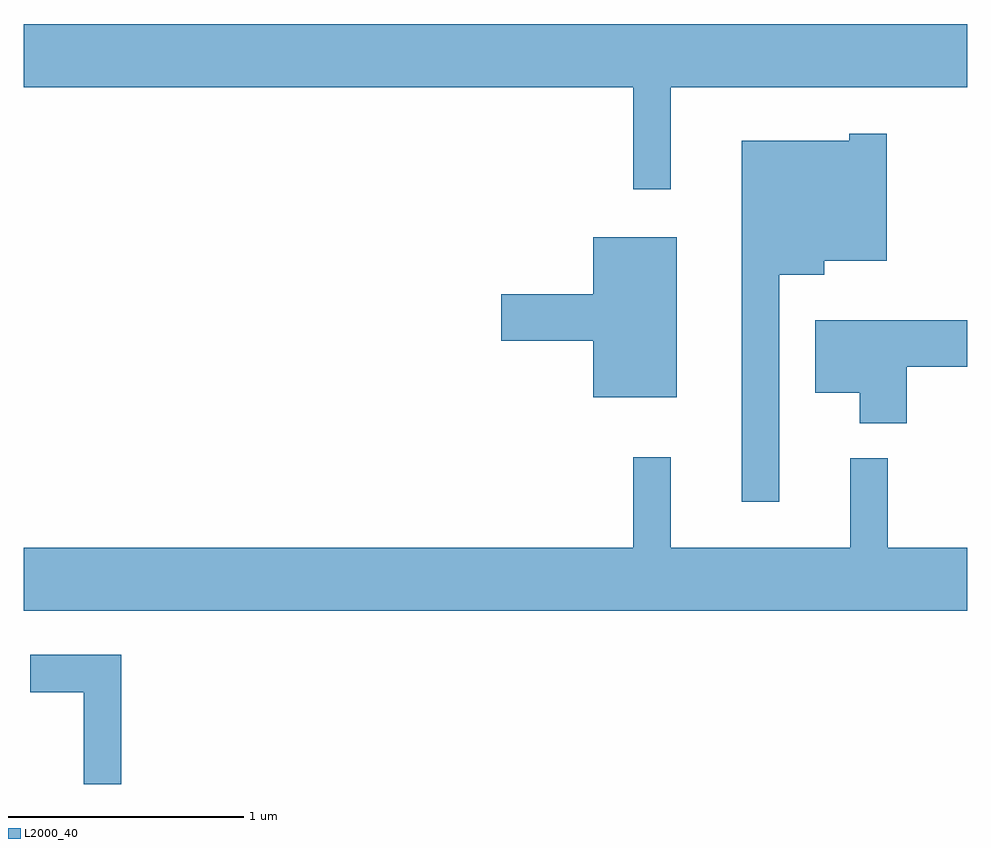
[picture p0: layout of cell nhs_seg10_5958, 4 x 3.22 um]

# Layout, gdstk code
import gdstk
lib = gdstk.Library(unit=1e-6, precision=1e-09)
def P(c, l, *ps):  # polygons
    for p in ps: c.add(gdstk.Polygon(p, *l))
L2000_40 = (2000, 40)

nhs_seg10_5958 = lib.new_cell('nhs_seg10_5958')
P(nhs_seg10_5958, L2000_40, [(364.354,2109.476),(365.611,2109.476),(365.611,2109.744),(361.611,2109.744),(361.611,2109.476),(364.196,2109.476),(364.196,2109.043),(364.354,2109.043)],
  [(364.814,2108.681),(365.004,2108.681),(365.004,2108.741),(365.269,2108.741),(365.269,2109.279),(365.111,2109.279),(365.111,2109.249),(364.656,2109.249),(364.656,2107.718),(364.814,2107.718)],
  [(364.379,2108.839),(364.026,2108.839),(364.026,2108.599),(363.636,2108.599),(363.636,2108.401),(364.026,2108.401),(364.026,2108.161),(364.379,2108.161)],
  [(365.354,2108.291),(365.611,2108.291),(365.611,2108.489),(364.966,2108.489),(364.966,2108.181),(365.156,2108.181),(365.156,2108.051),(365.354,2108.051)],
  [(365.611,2107.524),(365.274,2107.524),(365.274,2107.903),(365.116,2107.903),(365.116,2107.524),(364.354,2107.524),(364.354,2107.908),(364.196,2107.908),(364.196,2107.524),(361.611,2107.524),(361.611,2107.256),(365.611,2107.256)],
  [(362.024,2107.069),(361.638,2107.069),(361.638,2106.911),(361.866,2106.911),(361.866,2106.522),(362.024,2106.522)])

lib.write_gds('nhs_seg10_5958.gds')
